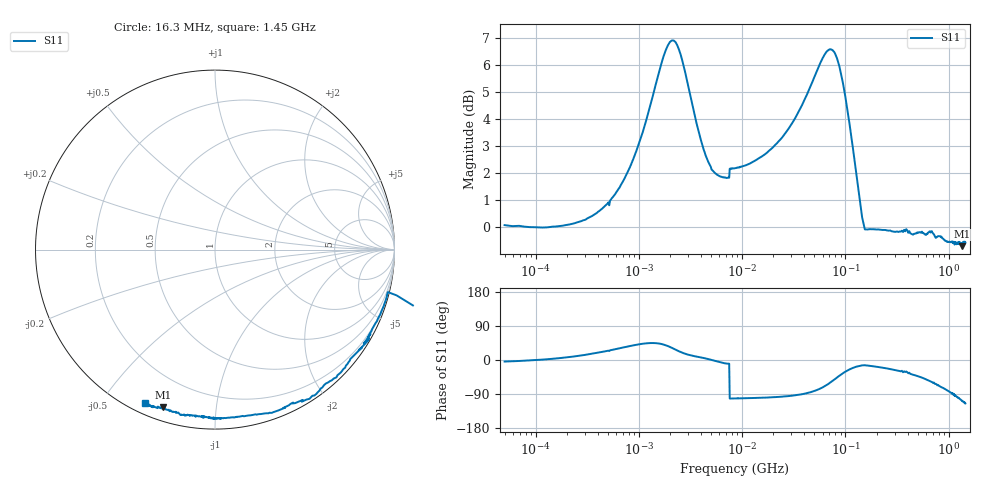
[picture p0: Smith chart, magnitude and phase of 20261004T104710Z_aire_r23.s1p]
! piloto_corto / aire / r23
# HZ S RI R 50
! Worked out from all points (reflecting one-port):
!   501 points, 50 kHz to 1.45 GHz, reference 50 ohm
!   lowest |S11| = -0.7 dB at 1.351 GHz (marker M1), VSWR 25.05, Z = 3.03 - j36 ohm
!   phase of S11 starts at -4 deg and turns -110 deg over the sweep
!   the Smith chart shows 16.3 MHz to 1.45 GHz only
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50000  1.007 -0.072
183000  1.002 0.1025
658000  1.018 0.6181
1180000  1.137 1.097
1630000  1.466 1.347
1990000  1.809 1.249
2440000  1.96 0.8318
3430000  1.599 0.2885
4870000  1.302 0.0312
7300000  1.217 -0.2089
7750000  -0.26 -1.257
8560000  -0.2537 -1.262
1.81e7  -0.2125 -1.368
3.16e7  -0.0988 -1.573
4.78e7  0.208 -1.844
6.67e7  0.8943 -1.919
7.57e7  1.236 -1.721
8.83e7  1.492 -1.276
9.82e7  1.505 -0.9365
1e8  1.495 -0.8845
1.18e8  1.31 -0.4993
1.36e8  1.103 -0.3109
1.63e8  0.9593 -0.2492
4.06e8  0.8007 -0.5605
7.03e8  0.4838 -0.8476
1.0585e9  0.0539 -0.9381
1.351e9  -0.2907 -0.8763
1.45e9  -0.3897 -0.8522
